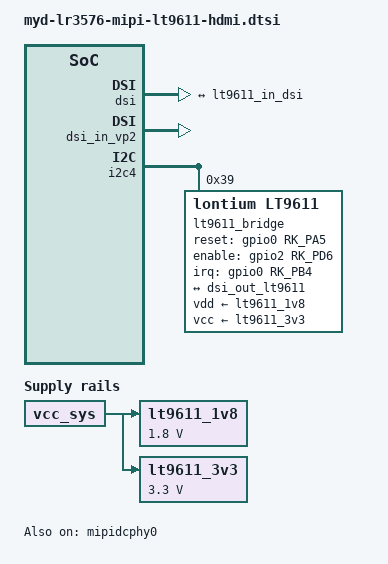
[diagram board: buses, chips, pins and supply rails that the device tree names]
// SPDX-License-Identifier: (GPL-2.0+ OR MIT)
/*
 * Copyright (c) 2024 MYIR Electronics Co., Ltd.
 *
 */

#include <dt-bindings/display/drm_mipi_dsi.h>
#include <dt-bindings/display/rockchip_vop.h>

/ {

	lt9611_1v8: lt9611-1v8 {
		compatible = "regulator-fixed";
		regulator-name = "lt9611_1v8";
		regulator-always-on;
		regulator-boot-on;
		regulator-min-microvolt = <1800000>;
		regulator-max-microvolt = <1800000>;
		vin-supply = <&vcc_sys>;
	};

	lt9611_3v3: lt9611-3v3 {
		compatible = "regulator-fixed";
		regulator-name = "lt9611_3v3";
		regulator-always-on;
		regulator-boot-on;
		regulator-min-microvolt = <3300000>;
		regulator-max-microvolt = <3300000>;
		vin-supply = <&vcc_sys>;
	};
};

&dsi {
	status = "okay";
	rockchip,lane-rate = <1200>;
	ports {
		#address-cells = <1>;
		#size-cells = <0>;

		port@1 {
			reg = <1>;
			dsi_out_lt9611: endpoint {
				remote-endpoint = <&lt9611_in_dsi>;
			};
		};
	};
};

&dsi_in_vp2 {
	status = "okay";
};

&i2c4 {
	status = "okay";
	lt9611_bridge: bridge@39 {
		status = "okay";
		compatible = "lontium,lt9611";
		reg = <0x39>;
		interrupts-extended = <&gpio0 RK_PB4 GPIO_ACTIVE_HIGH>;
		reset-gpios = <&gpio0 RK_PA5 GPIO_ACTIVE_HIGH>;
		enable-gpios = <&gpio2 RK_PD6 GPIO_ACTIVE_HIGH>;
		vdd-supply = <&lt9611_1v8>;
		vcc-supply = <&lt9611_3v3>;

		ports {
			#address-cells = <1>;
			#size-cells = <0>;

			port@0 {
				reg = <0>;
				lt9611_in_dsi: endpoint {
					remote-endpoint = <&dsi_out_lt9611>;
				};
			};
		};
	};
};

/*
 * mipidcphy0 needs to be enabled
 * when dsi is enabled
 */
&mipidcphy0 {
	status = "okay";
};
